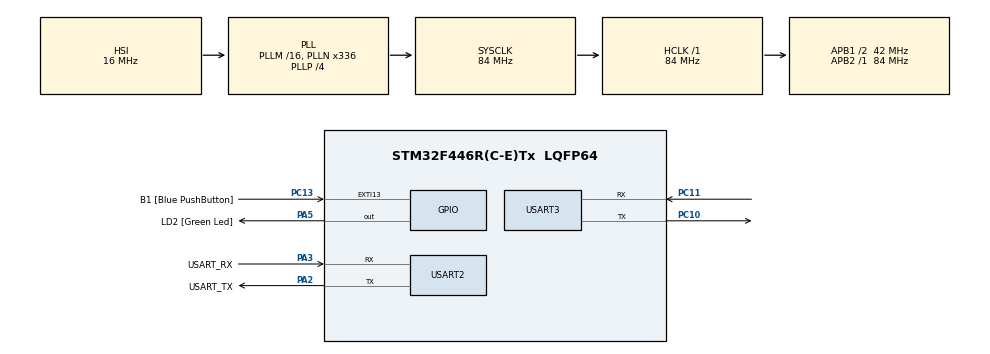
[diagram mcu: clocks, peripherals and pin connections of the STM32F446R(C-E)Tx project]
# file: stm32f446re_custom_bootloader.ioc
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Mcu.Family=STM32F4
PH0-OSC_IN.Signal=RCC_OSC_IN
RCC.CortexFreq_Value=84000000
PC13.Signal=GPXTI13
PC10.Signal=USART3_TX
PC11.Signal=USART3_RX
PA14.GPIO_Label=TCK
PC10.Mode=Asynchronous
PC13.GPIO_Label=B1 [Blue PushButton]
RCC.APB1CLKDivider=RCC_HCLK_DIV2
PC14-OSC32_IN.Signal=RCC_OSC32_IN
RCC.SYSCLKSource=RCC_SYSCLKSOURCE_PLLCLK
ProjectManager.StackSize=0x400
PA13.Signal=SYS_JTMS-SWDIO
PA3.Mode=Asynchronous
ProjectManager.TargetToolchain=STM32CubeIDE
RCC.HCLKFreq_Value=84000000
RCC.APB2TimFreq_Value=84000000
RCC.USBFreq_Value=168000000
PC15-OSC32_OUT.Signal=RCC_OSC32_OUT
RCC.AHBFreq_Value=84000000
PA5.Signal=GPIO_Output
RCC.HSE_VALUE=8000000
board=NUCLEO-F446RE
RCC.VCOOutputFreq_Value=336000000
RCC.APB2Freq_Value=84000000
PA14.Mode=Serial_Wire
PH1-OSC_OUT.Signal=RCC_OSC_OUT
PA13.Mode=Serial_Wire
Mcu.Name=STM32F446R(C-E)Tx
PA2.Signal=USART2_TX
PA13.GPIO_Label=TMS
RCC.FLatency-AdvancedSettings=FLASH_LATENCY_2
RCC.48MHZClocksFreq_Value=84000000
PB3.Signal=SYS_JTDO-SWO
RCC.SYSCLKFreq_VALUE=84000000
Mcu.Package=LQFP64
PA5.GPIO_Label=LD2 [Green Led]
PC13.GPIO_ModeDefaultEXTI=GPIO_MODE_IT_FALLING
USART2.VirtualMode=VM_ASYNC
USART3.VirtualMode=VM_ASYNC
PA2.GPIO_Label=USART_TX
PA14.Signal=SYS_JTCK-SWCLK
ProjectManager.HeapSize=0x200
PC11.Mode=Asynchronous
RCC.HSI_VALUE=16000000
RCC.PLLP=RCC_PLLP_DIV4
NVIC.PriorityGroup=NVIC_PRIORITYGROUP_0
RCC.PLLN=336
RCC.APB1TimFreq_Value=84000000
PA2.Mode=Asynchronous
RCC.APB1Freq_Value=42000000
VP_CRC_VS_CRC.Mode=CRC_Activate
PA3.GPIO_Label=USART_RX
PA3.Signal=USART2_RX
PB3.GPIO_Label=SWO

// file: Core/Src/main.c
/* USER CODE BEGIN Header */
/**
  ******************************************************************************
  * @file           : main.c
  * @brief          : Main program body
  ******************************************************************************
  * @attention
  *
  * <h2><center>&copy; Copyright (c) 2021 STMicroelectronics.
  * All rights reserved.</center></h2>
  *
  * This software component is licensed by ST under BSD 3-Clause license,
  * the "License"; You may not use this file except in compliance with the
  * License. You may obtain a copy of the License at:
  *                        opensource.org/licenses/BSD-3-Clause
  *
  ******************************************************************************
  */
/* USER CODE END Header */
#include "main.h"

void SystemClock_Config(void);
static void MX_GPIO_Init(void);
static void MX_USART2_UART_Init(void);
static void MX_USART3_UART_Init(void);
static void MX_CRC_Init(void);
/* USER CODE BEGIN PFP */
static void bl_jump_to_user_app(void);
static void bl_uart_read_data(void);
/* USER CODE END PFP */

/* USER CODE BEGIN 0 */
uint8_t bl_buffer[200];
/* USER CODE END 0 */

int main(void)
{

  /* MCU Configuration--------------------------------------------------------*/

  /* Reset of all peripherals, Initializes the Flash interface and the Systick. */
  HAL_Init();

  /* Configure the system clock */
  SystemClock_Config();

  /* Initialize all configured peripherals */
  MX_GPIO_Init();
  MX_USART2_UART_Init();
  MX_USART3_UART_Init();
  MX_CRC_Init();
  /* USER CODE BEGIN 2 */
#ifdef BL_DEBUG_PORT
  RetargetInit(UART_DEBUG_PORT);
#endif
  /* USER CODE END 2 */
  if (HAL_GPIO_ReadPin(B1_GPIO_Port, B1_Pin) == GPIO_PIN_RESET) {
	  printf(TAG_D "Jumping to bootloader mode\r\n");
	  bl_uart_read_data();
  } else {
	  printf(TAG_D "Jumping to user application\r\n");
	  bl_jump_to_user_app();
  }
  /* USER CODE END 2 */
}

void SystemClock_Config(void)
{
  RCC_OscInitTypeDef RCC_OscInitStruct = {0};
  RCC_ClkInitTypeDef RCC_ClkInitStruct = {0};

  /** Configure the main internal regulator output voltage
  */
  __HAL_RCC_PWR_CLK_ENABLE();
  __HAL_PWR_VOLTAGESCALING_CONFIG(PWR_REGULATOR_VOLTAGE_SCALE3);
  /** Initializes the RCC Oscillators according to the specified parameters
  * in the RCC_OscInitTypeDef structure.
  */
  RCC_OscInitStruct.OscillatorType = RCC_OSCILLATORTYPE_HSI;
  RCC_OscInitStruct.HSIState = RCC_HSI_ON;
  RCC_OscInitStruct.HSICalibrationValue = RCC_HSICALIBRATION_DEFAULT;
  RCC_OscInitStruct.PLL.PLLState = RCC_PLL_ON;
  RCC_OscInitStruct.PLL.PLLSource = RCC_PLLSOURCE_HSI;
  RCC_OscInitStruct.PLL.PLLM = 16;
  RCC_OscInitStruct.PLL.PLLN = 336;
  RCC_OscInitStruct.PLL.PLLP = RCC_PLLP_DIV4;
  RCC_OscInitStruct.PLL.PLLQ = 2;
  RCC_OscInitStruct.PLL.PLLR = 2;
  if (HAL_RCC_OscConfig(&RCC_OscInitStruct) != HAL_OK)
  {
    Error_Handler();
  }
  /** Initializes the CPU, AHB and APB buses clocks
  */
  RCC_ClkInitStruct.ClockType = RCC_CLOCKTYPE_HCLK|RCC_CLOCKTYPE_SYSCLK
                              |RCC_CLOCKTYPE_PCLK1|RCC_CLOCKTYPE_PCLK2;
  RCC_ClkInitStruct.SYSCLKSource = RCC_SYSCLKSOURCE_PLLCLK;
  RCC_ClkInitStruct.AHBCLKDivider = RCC_SYSCLK_DIV1;
  RCC_ClkInitStruct.APB1CLKDivider = RCC_HCLK_DIV2;
  RCC_ClkInitStruct.APB2CLKDivider = RCC_HCLK_DIV1;

  if (HAL_RCC_ClockConfig(&RCC_ClkInitStruct, FLASH_LATENCY_2) != HAL_OK)
  {
    Error_Handler();
  }
}

static void MX_CRC_Init(void)
{

  hcrc.Instance = CRC;
  if (HAL_CRC_Init(&hcrc) != HAL_OK)
  {
    Error_Handler();
  }

}

static void MX_USART2_UART_Init(void)
{

  huart2.Instance = USART2;
  huart2.Init.BaudRate = 115200;
  huart2.Init.WordLength = UART_WORDLENGTH_8B;
  huart2.Init.StopBits = UART_STOPBITS_1;
  huart2.Init.Parity = UART_PARITY_NONE;
  huart2.Init.Mode = UART_MODE_TX_RX;
  huart2.Init.HwFlowCtl = UART_HWCONTROL_NONE;
  huart2.Init.OverSampling = UART_OVERSAMPLING_16;
  if (HAL_UART_Init(&huart2) != HAL_OK)
  {
    Error_Handler();
  }

}

static void MX_USART3_UART_Init(void)
{

  huart3.Instance = USART3;
  huart3.Init.BaudRate = 115200;
  huart3.Init.WordLength = UART_WORDLENGTH_8B;
  huart3.Init.StopBits = UART_STOPBITS_1;
  huart3.Init.Parity = UART_PARITY_NONE;
  huart3.Init.Mode = UART_MODE_TX_RX;
  huart3.Init.HwFlowCtl = UART_HWCONTROL_NONE;
  huart3.Init.OverSampling = UART_OVERSAMPLING_16;
  if (HAL_UART_Init(&huart3) != HAL_OK)
  {
    Error_Handler();
  }

}

static void MX_GPIO_Init(void)
{
  GPIO_InitTypeDef GPIO_InitStruct = {0};

  /* GPIO Ports Clock Enable */
  __HAL_RCC_GPIOC_CLK_ENABLE();
  __HAL_RCC_GPIOH_CLK_ENABLE();
  __HAL_RCC_GPIOA_CLK_ENABLE();
  __HAL_RCC_GPIOB_CLK_ENABLE();

  /*Configure GPIO pin Output Level */
  HAL_GPIO_WritePin(LD2_GPIO_Port, LD2_Pin, GPIO_PIN_RESET);

  /*Configure GPIO pin : B1_Pin */
  GPIO_InitStruct.Pin = B1_Pin;
  GPIO_InitStruct.Mode = GPIO_MODE_IT_FALLING;
  GPIO_InitStruct.Pull = GPIO_NOPULL;
  HAL_GPIO_Init(B1_GPIO_Port, &GPIO_InitStruct);

  /*Configure GPIO pin : LD2_Pin */
  GPIO_InitStruct.Pin = LD2_Pin;
  GPIO_InitStruct.Mode = GPIO_MODE_OUTPUT_PP;
  GPIO_InitStruct.Pull = GPIO_NOPULL;
  GPIO_InitStruct.Speed = GPIO_SPEED_FREQ_LOW;
  HAL_GPIO_Init(LD2_GPIO_Port, &GPIO_InitStruct);

}

/* USER CODE BEGIN 4 */

/*
 * 					 	Bootloader UART Read Handler
 *
 * @fn: 		- 	bl_uart_read_data
 *
 * @brief		-	This function will receive commands from UART and
 * 					perform specific operation based on it.
 *
 * @return		-	void
 *
 * @Note		-
 *
 */
static void bl_uart_read_data(void)
{
	uint8_t cmd_len = 0;

	while(1) {
		memset(bl_buffer, 0, 200);

		HAL_UART_Receive(UART_CMD_PORT, bl_buffer, 1, HAL_MAX_DELAY);
		cmd_len = bl_buffer[0];
		HAL_UART_Receive(UART_CMD_PORT, &bl_buffer[1], cmd_len, HAL_MAX_DELAY);

		switch(bl_buffer[1]) {
		case BL_GET_VER:
			bootloader_handle_getver_cmd(bl_buffer);
			break;
		case BL_GET_HELP:
			bootloader_handle_gethelp_cmd(bl_buffer);
			break;
		case BL_GET_CID:
			bootloader_handle_getcid_cmd(bl_buffer);
			break;
		case BL_GET_RDP_STATUS:
			bootloader_handle_getrdp_cmd(bl_buffer);
			break;
		case BL_GO_TO_ADDR:
			bootloader_handle_go_cmd(bl_buffer);
			break;
		case BL_FLASH_ERASE:
			bootloader_handle_flash_erase_cmd(bl_buffer);
			break;
		case BL_MEM_WRITE:
			bootloader_handle_mem_write_cmd(bl_buffer);
			break;
		case BL_EN_RW_PROTECT:
			bootloader_handle_en_rw_protect(bl_buffer);
			break;
		case BL_MEM_READ:
			bootloader_handle_mem_read(bl_buffer);
			break;
		case BL_READ_SECTOR_P_STATUS:
			bootloader_handle_read_sector_protection_status(bl_buffer);
			break;
		case BL_OTP_READ:
			bootloader_handle_read_otp(bl_buffer);
			break;
		case BL_DIS_R_W_PROTECT:
			bootloader_handle_dis_rw_protect(bl_buffer);
			break;
		default:
			printf(TAG_D "Invalid command code received from host, try again.\r\n");
			break;
		}
	}
}

/*
 * 					 	Bootloader jump to user application
 *
 * @fn: 		- 	bl_jump_to_user_app
 *
 * @brief		-	Setup Master Stack Pointer and jump to user application (reset_handler).
 *
 * @return		-	void
 *
 * @Note		-
 *
 */
static void bl_jump_to_user_app(void)
{
	void (*userapp_reset_handler) (void);

	//User app is stored from Sector 2 of flash.
	uint32_t msp_val = *(volatile uint32_t*)FLASH_SECTOR_2_BASE_ADDRESS;
	printf(TAG_D "starting user app at %#lX\r\n", msp_val);
	__set_MSP(msp_val);

	uint32_t tmp = *(volatile uint32_t*) (FLASH_SECTOR_2_BASE_ADDRESS + 4);
	userapp_reset_handler = (void *) tmp;
	userapp_reset_handler();
}
/* USER CODE END 4 */

void Error_Handler(void)
{
  __disable_irq();
  while (1)
  {
  }
}

/************************ (C) COPYRIGHT STMicroelectronics *****END OF FILE****/
